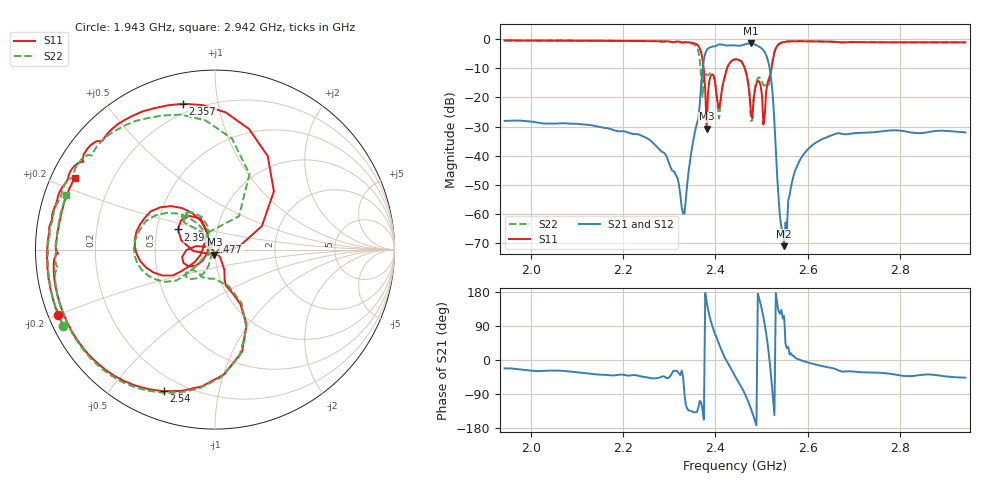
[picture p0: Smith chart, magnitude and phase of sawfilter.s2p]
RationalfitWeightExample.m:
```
%% Using the 'Weight' Parameter with rationalfit
% This example shows how to use the 'Weight' parameter to improve the
% quality of the output of <matlab:doc('rf/rationalfit'); |rationalfit|>.
% By default, the <matlab:doc('rf/rationalfit'); |rationalfit|> function
% minimizes the absolute error between the data and the rational function,
% treating all data points equally.  When it is useful to emphasize some of
% the data points more than the others, use the 'Weight' parameter.
%
% If the magnitude of the input data has a large dynamic range, it is often
% useful to be more concerned with the relative error at each data point,
% rather than the absolute error at each data point, so that the data
% points with relatively smaller magnitudes are fit accurately.  The common
% way to do this is to set the 'Weight' parameter to |1./abs(data)|.
%
% First, read in the saw filter data contained in the file |sawfilter.s2p|,
% and plot the |S21| data.  Next, use the <matlab:doc('rf/rationalfit');
% |rationalfit|> function to fit a rational function to the |S21| data,
% with the 'Weight' parameter set to it's default value, and visually
% compare the results to the original data. Lastly, use
% <matlab:doc('rf/rationalfit'); |rationalfit|> again, this time specifing
% the 'Weight' parameter to be |1./abs(S21)|, and see if the result
% improves.

%% Read and Visualize the Data
S = sparameters('sawfilter.s2p');
figure
subplot(2,1,1)
rfplot(S,2,1,'db')
subplot(2,1,2)
rfplot(S,2,1,'angle')

%% Analyze the Output of rationalfit when Using the Default Value for 'Weight'
% Use the <matlab:doc('rf/rfparam'); |rfparam|> function to extract the
% |S21| values, and then call <matlab:doc('rf/rationalfit');
% |rationalfit|>.
s21 = rfparam(S,2,1);
datafreq = S.Frequencies;
defaultfit = rationalfit(datafreq,s21);

%%
% Use the <matlab:doc('rf/freqresp'); |freqresp|> function to calculate the
% response of the output of <matlab:doc('rf/rationalfit'); |rationalfit|>.
respfreq = 1e9:1.5e6:4e9;
defaultresp = freqresp(defaultfit,respfreq);

%%
% Compare the original data against the frequency response of the default
% rational function calculated by <matlab:doc('rf/rationalfit');
% |rationalfit|>.
subplot(2,1,1)
plot(datafreq,20*log10(abs(s21)),'.-')
hold on
plot(respfreq,20*log10(abs(defaultresp)))
hold off
xlabel('Frequency (Hz)')
ylabel('Magnitude (dB)')
defaultnpoles = numel(defaultfit.A);
defaultstr = ['Default Weight (Uses ',num2str(defaultnpoles),' poles)'];
title(defaultstr)
legend('Original Data','Default rationalfit','Location','best')
subplot(2,1,2)
plot(datafreq,unwrap(angle(s21))*180/pi,'.-')
hold on
plot(respfreq,unwrap(angle(defaultresp))*180/pi)
hold off
xlabel('Frequency (Hz)')
ylabel('Angle (degrees)')
legend('Original Data','Default rationalfit','Location','best')

%%
% While the output of <matlab:doc('rf/rationalfit'); |rationalfit|> is not
% awful, it does not match the regions in the data that are very small in
% magnitude.

%%
figure
plot(datafreq,20*log10(abs(s21)),'.-')
hold on
plot(respfreq,20*log10(abs(defaultresp)))
hold off
axis([2.25e9 2.65e9 -75 -30])
xlabel('Frequency (Hz)')
ylabel('Magnitude (dB)')
title('Accuracy at Small Magnitudes Using Default Weight')
legend('Original Data','Default rationalfit','Location','best')

%%
% Using the 'Weight' parameter to make that data relatively more important
% can help the accuracy of the fit.

%% Analyze the Output of rationalfit when Using a Custom Value for 'Weight'
% By using a 'Weight' of |1./abs(s21)|, <matlab:doc('rf/rationalfit');
% |rationalfit|> will minimize the relative error of the system, instead of
% the absolute error of the system.
customfit = rationalfit(datafreq,s21,'Weight',1./abs(s21));
customresp = freqresp(customfit,respfreq);

%%
% Compare the original data against the frequency response of the custom
% rational function calculated by <matlab:doc('rf/rationalfit');
% |rationalfit|>.
figure
subplot(2,1,1)
plot(datafreq,20*log10(abs(s21)),'.-')
hold on
plot(respfreq,20*log10(abs(customresp)))
hold off
xlabel('Frequency (Hz)')
ylabel('Magnitude (dB)')
customnpoles = numel(customfit.A);
customstr = ['Weight = 1./abs(s21) (Uses ',num2str(customnpoles),' poles)'];
title(customstr)
legend('Original Data','Custom rationalfit','Location','best')
subplot(2,1,2)
plot(datafreq,unwrap(angle(s21))*180/pi,'.-')
hold on
plot(respfreq,unwrap(angle(customresp))*180/pi)
hold off
xlabel('Frequency (Hz)')
ylabel('Angle (degrees)')
legend('Original Data','Custom rationalfit','Location','best')

%%
% The plot shows that the custom 'Weight' parameter created a better fit at
% for the data points with smaller magnitudes.

%%
figure
plot(datafreq,20*log10(abs(s21)),'.-')
hold on
plot(respfreq,20*log10(abs(customresp)))
hold off
axis([2.25e9 2.65e9 -75 -30])
xlabel('Frequency (Hz)')
ylabel('Magnitude (dB)')
title('Accuracy at Small Magnitudes Using Custom Weight')
legend('Original Data','Custom rationalfit','Location','best')
```
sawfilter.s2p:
! Copyright 2010-2015 The MathWorks, Inc.
# MHz S RI R 50
! S-Parameters data
! Freq  reS11  imS11  reS21  imS21  reS12  imS12  reS22  imS22
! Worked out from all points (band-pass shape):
!   334 points, 1.943 GHz to 2.942 GHz, reference 50 ohm
!   highest |S21| = -1.48 dB at 2.477 GHz (marker M1); lowest = -71.0 dB at 2.549 GHz (marker M2)
!   |S21| within 3 dB of the highest: 2.379 GHz to 2.507 GHz (127.6 MHz wide, 5.22 % of centre)
!   lowest |S11| = -30.7 dB at 2.381 GHz (marker M3), VSWR 1.06, Z = 49.6 - j2.88 ohm
!   |S11| at or under -10 dB: 2.374 GHz to 2.425 GHz (50.96 MHz wide, 2.12 % of centre); 2.464 GHz to 2.521 GHz (57.8 MHz wide, 2.32 % of centre)
!   |S22| runs from -28.0 to -0.5 dB; largest |S21 - S12| = 0
!   S11 on the Smith chart (normalised r, x): 1.943 GHz: 0.03, -0.20; 2.357 GHz: 0.15, +0.79; 2.39 GHz: 0.64, +0.15; 2.477 GHz: 0.93, +0.08; 2.54 GHz: 0.13, -0.69; 2.942 GHz: 0.07, +0.24
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1943  -0.8753 -0.3626  0.0368 -0.0149  0.0368 -0.0149  -0.8461 -0.4265
2333  -0.6034 0.6416  -2.29e-05 -0.00102  -2.29e-05 -0.00102  -0.6605 0.5715
2357  -0.1778 0.8129  -0.0216 -0.0194  -0.0216 -0.0194  -0.188 0.7522
2381  -0.00365 -0.029  -0.5759 0.2854  -0.5759 0.2854  -0.1513 0.1864
2390  -0.2063 0.1125  -0.1666 0.7088  -0.1666 0.7088  -0.1806 0.1949
2444  -0.4466 0.06  0.5419 -0.5539  0.5419 -0.5539  -0.4514 0.00345
2477  -0.0335 0.044  -0.5263 -0.6593  -0.5263 -0.6593  -0.0259 0.03
2519  0.0918 -0.2352  0.2556 -0.0951  0.2556 -0.0951  0.0751 -0.2018
2540  -0.2869 -0.7892  -0.000483 0.000765  -0.000483 0.000765  -0.2909 -0.7972
2549  -0.509 -0.7315  -0.000123 0.000253  -0.000123 0.000253  -0.4982 -0.7466
2942  -0.7823 0.3989  0.0172 -0.0182  0.0172 -0.0182  -0.8275 0.3043
